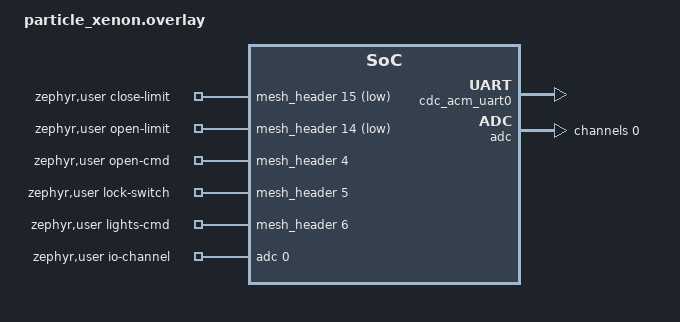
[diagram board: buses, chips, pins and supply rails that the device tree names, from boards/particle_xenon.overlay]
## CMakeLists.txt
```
cmake_minimum_required(VERSION 3.20.0)

set(BOARD particle_xenon)

list(APPEND OVERLAY_CONFIG "${CMAKE_CURRENT_LIST_DIR}/network.conf")
list(APPEND mcuboot_DTC_OVERLAY_FILE "${CMAKE_CURRENT_LIST_DIR}/boot.overlay")

find_package(Zephyr REQUIRED HINTS $ENV{ZEPHYR_BASE})

project(garage)

target_compile_options(app PRIVATE -Wall -Werror -Wextra -Wno-unused-parameter -Wno-unused-function -Wno-ignored-qualifiers -Wno-type-limits)

target_sources(app PRIVATE
	src/main.c

	src/button.c
	src/coap_server.c
	src/srp-init.c
	src/switch.c
)
```

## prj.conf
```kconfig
CONFIG_BOOTLOADER_MCUBOOT=y

CONFIG_GPIO=y
CONFIG_ADC=y

########################################
# USB Configuration                    #
########################################

CONFIG_USB_DEVICE_INITIALIZE_AT_BOOT=y

CONFIG_USB_CDC_ACM=y
CONFIG_USB_DEVICE_STACK=y
CONFIG_USB_DEVICE_MANUFACTURER="Kenny"
CONFIG_USB_DEVICE_PRODUCT="Garage"
CONFIG_USB_DEVICE_VID=0x05ed
CONFIG_USB_DEVICE_PID=0xb567

CONFIG_UART_CONSOLE=y
CONFIG_CONSOLE=y
CONFIG_UART_LINE_CTRL=y

########################################
# Shell Configuration                  #
########################################
# Console
CONFIG_SHELL=y
CONFIG_SHELL_BACKENDS=y

CONFIG_LOG=y
CONFIG_LOG_PRINTK=y
CONFIG_NET_SHELL=y
CONFIG_LOG_BACKEND_UART=y

CONFIG_GPIO_SHELL=y

########################################
# Thread Configuration                 #
########################################
#
# Follows: https://developer.nordicsemi.com/nRF_Connect_SDK/doc/latest/nrf/ug_thread_configuring.html

CONFIG_NETWORKING=y
CONFIG_NET_L2_OPENTHREAD=y
CONFIG_MPSL=y

CONFIG_OPENTHREAD=y

CONFIG_OPENTHREAD_THREAD_VERSION_1_3=y

# Hardfloat required to link with the Nordic library
CONFIG_FPU=y
CONFIG_FP_HARDABI=y
CONFIG_OPENTHREAD_BUILD_OUTPUT_STRIPPED=y
CONFIG_OPENTHREAD_LIBRARY=y

# Include default features from the #thread-ug-feature-sets section
CONFIG_OPENTHREAD_NORDIC_LIBRARY_FTD=y

# Make sure hardware crypto accl is used:
CONFIG_OPENTHREAD_NRF_SECURITY_CHOICE=y

# Required for ipv6 routing between networks
CONFIG_NET_IPV6_NBR_CACHE=n
CONFIG_NET_IPV6_MLD=n

########################################
# Network Events                       #
########################################
CONFIG_NET_CONNECTION_MANAGER=y

########################################
# COAP Config                          #
########################################
CONFIG_COAP=y
CONFIG_OPENTHREAD_COAP=y
CONFIG_COAP_UTILS=y
CONFIG_NET_SOCKETS=y
CONFIG_COAP_WELL_KNOWN_BLOCK_WISE=y
CONFIG_HEAP_MEM_POOL_SIZE=4096
```

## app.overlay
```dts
/ {
   chosen {
      zephyr,code-partition = &slot0_partition;
   };
};
```

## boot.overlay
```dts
#include <../boards/arm/particle_xenon/dts/mesh_feather.dtsi>

&zephyr_udc0 {
	cdc_acm_uart0 {
		compatible = "zephyr,cdc-acm-uart";
	};
};

/ {
	aliases {
		mcuboot-led0 = &status_red;
		mcuboot-button0 = &mode_button;
	};
};
```

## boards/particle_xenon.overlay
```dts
#include <../boards/arm/particle_xenon/dts/mesh_feather.dtsi>

/ {
        aliases {
                adcctl = &adc;
        };
        chosen {
                /*
                zephyr,console = &cdc_acm_uart0;
                 */
                zephyr,shell-uart = &cdc_acm_uart0;
                zephyr,entropy = &rng;
        };

        // https: //docs.particle.io/assets/images/xenon/xenon-pinout-v1.0.pdf
        zephyr,user {
                io-channels = <&adc 0>;

                //vibration-gpios = <&mesh_header 7 GPIO_ACTIVE_LOW>;
                //ctrl-signal-gpios = <&mesh_header 19 GPIO_ACTIVE_LOW>;

                close-limit-gpios = <&mesh_header 15 GPIO_ACTIVE_LOW>; // A4
                open-limit-gpios = <&mesh_header 14 GPIO_ACTIVE_LOW>; // A5

                open-cmd-gpios = <&mesh_header 4 GPIO_ACTIVE_HIGH>;
                lock-switch-gpios = <&mesh_header 5 GPIO_ACTIVE_HIGH>;
                lights-cmd-gpios = <&mesh_header 6 GPIO_ACTIVE_HIGH>;
        };
};

&zephyr_udc0 {
        cdc_acm_uart0: cdc_acm_uart0 {
                compatible = "zephyr,cdc-acm-uart";
                label = "CDC_ACM_0";
        };
};

&adc {
        #address-cells = <1>;
        #size-cells = <0>;

        status = "okay";

        channel@0 {
                reg = <0>;
                zephyr,gain = "ADC_GAIN_1_6";
                zephyr,reference = "ADC_REF_INTERNAL";
                zephyr,acquisition-time = <ADC_ACQ_TIME_DEFAULT>;
                /* NB: resolution *must* be set or the driver fails. 0 == error -22 */
                zephyr,resolution = <12>;
                zephyr,input-positive = <NRF_SAADC_AIN1>; /* A0 - 19 - P0.03 */
        };
};
```

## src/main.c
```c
#include <zephyr/kernel.h>
#include <zephyr/logging/log.h>

#include <zephyr/drivers/adc.h>
#include <zephyr/drivers/gpio.h>
#include <zephyr/usb/usb_device.h>

#include <hal/nrf_saadc.h>

#include "button.h"
#include "coap_server.h"
#include "switch.h"

LOG_MODULE_REGISTER(main, LOG_LEVEL_DBG);

bool open_pressed = false;
bool lock_pressed = false;
bool lights_pressed = false;

bool locked = false;

typedef enum { CLOSED = 0, UNKNOWN = 1, OPEN = 2 } state;

static K_SEM_DEFINE(connected, 0, 1);

#if !DT_NODE_EXISTS(DT_PATH(zephyr_user)) ||                                   \
    !DT_NODE_HAS_PROP(DT_PATH(zephyr_user), io_channels)
#error "No suitable devicetree overlay specified"
#endif

#define ZEPHYR_USER_NODE DT_PATH(zephyr_user)
#define ZEPHYR_GPIO(N)                                                         \
  const struct gpio_dt_spec N = GPIO_DT_SPEC_GET(ZEPHYR_USER_NODE, N##_gpios)

ZEPHYR_GPIO(lock_switch);
SWITCH(open_limit);
SWITCH(close_limit);

#if !DT_NODE_EXISTS(DT_PATH(zephyr_user)) ||                                   \
    !DT_NODE_HAS_PROP(DT_PATH(zephyr_user), io_channels)
#error "No suitable devicetree overlay specified"
#endif

static const struct adc_dt_spec ctrl_signal =
    ADC_DT_SPEC_GET_BY_IDX(DT_PATH(zephyr_user), 0);

struct button_work open_button = {
    .click_work = Z_WORK_INITIALIZER(press_button),
    .release_work = Z_WORK_DELAYABLE_INITIALIZER(release_button),
    .gpio = GPIO_DT_SPEC_GET(ZEPHYR_USER_NODE, open_cmd_gpios),
};

struct button_work lights_button = {
    .click_work = Z_WORK_INITIALIZER(press_button),
    .release_work = Z_WORK_DELAYABLE_INITIALIZER(release_button),
    .gpio = GPIO_DT_SPEC_GET(ZEPHYR_USER_NODE, lights_cmd_gpios),
};

#define SLEEP_TIME_MS 1000
#define LED0_NODE DT_ALIAS(led0)
static const struct gpio_dt_spec led = GPIO_DT_SPEC_GET(LED0_NODE, gpios);

static void switch_event_handler(enum switch_evt evt, char *name) {
  LOG_WRN("Switch event: %s => %d\n", name, evt);
}

void setup_pins() {
  gpio_pin_configure_dt(&open_button.gpio, GPIO_OUTPUT_INACTIVE);
  gpio_pin_configure_dt(&lock_switch, GPIO_OUTPUT_INACTIVE);
  gpio_pin_configure_dt(&lights_button.gpio, GPIO_OUTPUT_INACTIVE);

  gpio_pin_configure_dt(&led, GPIO_OUTPUT_ACTIVE);

  switch_init(&open_limit, switch_event_handler);
  switch_init(&close_limit, switch_event_handler);

  int err;
  err = adc_channel_setup_dt(&ctrl_signal);
  if (err < 0) {
    LOG_ERR("Could not setup adc channel (%d)\n", err);
  }
}

void main(void) {
  int ret;

  open_limit.name = "OPEN";
  close_limit.name = "CLOSE";

  if (!(device_is_ready(led.port) && device_is_ready(open_button.gpio.port) &&
        device_is_ready(lock_switch.port) &&
        device_is_ready(lights_button.gpio.port) &&
        device_is_ready(ctrl_signal.dev))) {
    LOG_ERR("%s", "GPIO not ready.\n");
    return;
  }

  setup_pins();

  coap_add_bool_resource("open", &open_limit.active);
  coap_add_bool_resource("close", &close_limit.active);

  coap_add_button("open", &open_button);
  coap_add_button("lights", &lights_button);

  coap_add_adc("control", &ctrl_signal);

  while (1) {
    ret = gpio_pin_toggle_dt(&led);
    if (ret < 0) {
      LOG_ERR("Unable to toggle LED");
      continue;
    }
    k_msleep(SLEEP_TIME_MS);
  }
}
```

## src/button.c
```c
#include <zephyr/drivers/gpio.h>
#include <zephyr/kernel.h>

#include "button.h"

void press_button(struct k_work *work) {
  struct button_work *button =
      CONTAINER_OF(work, struct button_work, click_work);
  gpio_pin_set_dt(&button->gpio, 1);
  k_work_reschedule(&button->release_work, K_SECONDS(1U));
}

void release_button(struct k_work *work) {
  struct button_work *button =
      CONTAINER_OF(work, struct button_work, release_work);
  gpio_pin_set_dt(&button->gpio, 0);
}
```

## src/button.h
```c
#ifndef _BUTTON_H_
#define _BUTTON_H_

#include <zephyr/drivers/gpio.h>
#include <zephyr/kernel.h>

struct button_work {
  struct k_work click_work;
  struct k_work_delayable release_work;
  const struct gpio_dt_spec gpio;
};

void press_button(struct k_work *work);
void release_button(struct k_work *work);

#endif /* _BUTTON_H_ */
```

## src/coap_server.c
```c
#include <zephyr/logging/log.h>
LOG_MODULE_REGISTER(net_coap_server, LOG_LEVEL_DBG);

#include <errno.h>
#include <zephyr/drivers/adc.h>
#include <zephyr/kernel.h>
#include <zephyr/sys/byteorder.h>
#include <zephyr/sys/printk.h>

#include <zephyr/net/coap.h>
#include <zephyr/net/coap_link_format.h>
#include <zephyr/net/net_conn_mgr.h>
#include <zephyr/net/net_ip.h>
#include <zephyr/net/net_mgmt.h>
#include <zephyr/net/openthread.h>
#include <zephyr/net/socket.h>
#include <zephyr/net/udp.h>

#include <openthread/thread.h>

#include "coap_server.h"

#define MAX_RETRANSMIT_COUNT 2

#define MAX_COAP_MSG_LEN 256

#define MY_COAP_PORT 5683

#define MAX_RESOURCES 10
static int num_resources = 1;
static int well_known_core_get(struct coap_resource *, struct coap_packet *,
                               struct sockaddr *, socklen_t);

static int bool_get(struct coap_resource *, struct coap_packet *,
                    struct sockaddr *, socklen_t);

// NB: resources is not currently threadsafe
static struct coap_resource resources[MAX_RESOURCES + 1] = {
    {
        .get = well_known_core_get,
        .path = COAP_WELL_KNOWN_CORE_PATH,
    },
    {0},
};

#define BLOCK_WISE_TRANSFER_SIZE_GET 2048

#define ADDRLEN(sock)                                                          \
  (((struct sockaddr *)sock)->sa_family == AF_INET                             \
       ? sizeof(struct sockaddr_in)                                            \
       : sizeof(struct sockaddr_in6))

#define NUM_PENDINGS 10

#define EVENT_MASK (NET_EVENT_L4_CONNECTED | NET_EVENT_L4_DISCONNECTED)
K_SEM_DEFINE(connected, 0, 1);
static struct net_mgmt_event_callback mgmt_cb;

static void coap_server_process(void *a1, void *a2, void *a3);
K_THREAD_DEFINE(coap_server_id, 4096, coap_server_process, NULL, NULL, NULL, 7,
                0, 0);

/* CoAP socket fd */
static int sock;

static struct coap_pending pendings[NUM_PENDINGS];

static int start_coap_server(void) {
  struct sockaddr_in6 addr6;
  int r;

  memset(&addr6, 0, sizeof(addr6));
  addr6.sin6_family = AF_INET6;
  addr6.sin6_port = htons(MY_COAP_PORT);

  sock = socket(addr6.sin6_family, SOCK_DGRAM, IPPROTO_UDP);
  if (sock < 0) {
    LOG_ERR("Failed to create UDP socket %d", errno);
    return -errno;
  }

  r = bind(sock, (struct sockaddr *)&addr6, sizeof(addr6));
  if (r < 0) {
    LOG_ERR("Failed to bind UDP socket %d", errno);
    return -errno;
  }

  return 0;
}

static int send_coap_reply(struct coap_packet *cpkt,
                           const struct sockaddr *addr, socklen_t addr_len) {
  int r;

  r = sendto(sock, cpkt->data, cpkt->offset, 0, addr, addr_len);
  if (r < 0) {
    LOG_ERR("Failed to send %d", errno);
    r = -errno;
  }

  return r;
}

static int well_known_core_get(struct coap_resource *resource,
                               struct coap_packet *request,
                               struct sockaddr *addr, socklen_t addr_len) {
  struct coap_packet response;
  uint8_t *data;
  int r;

  data = (uint8_t *)k_malloc(MAX_COAP_MSG_LEN);
  if (!data) {
    return -ENOMEM;
  }

  r = coap_well_known_core_get(resource, request, &response, data,
                               MAX_COAP_MSG_LEN);
  if (r < 0) {
    goto end;
  }

  r = send_coap_reply(&response, addr, addr_len);

end:
  k_free(data);

  return r;
}

static int send_reply(int value, struct coap_resource *resource,
                      struct coap_packet *request, struct sockaddr *addr,
                      socklen_t addr_len) {
  struct coap_packet response;
  uint8_t payload[40];
  uint8_t token[COAP_TOKEN_MAX_LEN];
  uint8_t *data;
  uint16_t id;
  uint8_t type;
  uint8_t tkl;
  int r;

  type = coap_header_get_type(request);
  id = coap_header_get_id(request);
  tkl = coap_header_get_token(request, token);

  if (type == COAP_TYPE_CON) {
    type = COAP_TYPE_ACK;
  } else {
    type = COAP_TYPE_NON_CON;
  }

  data = (uint8_t *)k_malloc(MAX_COAP_MSG_LEN);
  if (!data) {
    return -ENOMEM;
  }

  r = coap_packet_init(&response, data, MAX_COAP_MSG_LEN, COAP_VERSION_1, type,
                       tkl, token, COAP_RESPONSE_CODE_CONTENT, id);
  if (r < 0) {
    goto end;
  }

  r = coap_append_option_int(&response, COAP_OPTION_CONTENT_FORMAT,
                             COAP_CONTENT_FORMAT_TEXT_PLAIN);
  if (r < 0) {
    goto end;
  }

  r = coap_packet_append_payload_marker(&response);
  if (r < 0) {
    goto end;
  }

  r = snprintk((char *)payload, sizeof(payload), "%d", value);
  if (r < 0) {
    goto end;
  }

  r = coap_packet_append_payload(&response, (uint8_t *)payload,
                                 strlen(payload));
  if (r < 0) {
    goto end;
  }

  r = send_coap_reply(&response, addr, addr_len);

end:
  k_free(data);

  return r;
}

static int bool_get(struct coap_resource *resource, struct coap_packet *request,
                    struct sockaddr *addr, socklen_t addr_len) {
  int value =
      *(bool *)(((struct coap_core_metadata *)resource->user_data)->user_data)
          ? 1
          : 0;
  return send_reply(value, resource, request, addr, addr_len);
}

void coap_add_bool_resource(char *name, bool *value) {

  if (num_resources >= MAX_RESOURCES) {
    LOG_ERR("%s", "Resource limit hit, can not add another");
  }
  memset(&resources[num_resources], 0, sizeof(*resources));
  memset(&resources[num_resources + 1], 0, sizeof(*resources));

  struct coap_core_metadata *meta =
      calloc(1, sizeof(struct coap_core_metadata));
  meta->user_data = value;

  char **path = calloc(2, sizeof(char *));
  path[0] = name;

  struct coap_resource *resource = &resources[num_resources];
  resource->get = bool_get;
  resource->user_data = meta;
  // Set path last, as it's used to check if the entry exists
  resource->path = (const char *const *)path;
  num_resources += 1;
}

static int schedule_button(struct coap_resource *resource,
                           struct coap_packet *request, struct sockaddr *addr,
                           socklen_t addr_len) {

  struct button_work *button =
      ((struct coap_core_metadata *)resource->user_data)->user_data;
  k_work_submit(&button->click_work);

  return send_reply(1, resource, request, addr, addr_len);
}

void coap_add_button(char *name, struct button_work *button) {

  if (num_resources >= MAX_RESOURCES) {
    LOG_ERR("%s", "Resource limit hit, can not add another");
  }
  memset(&resources[num_resources], 0, sizeof(*resources));
  memset(&resources[num_resources + 1], 0, sizeof(*resources));

  struct coap_core_metadata *meta =
      calloc(1, sizeof(struct coap_core_metadata));
  meta->user_data = button;

  static const char *button_path = "button";
  char **path = calloc(3, sizeof(char *));
  path[0] = (char *)button_path;
  path[1] = name;

  struct coap_resource *resource = &resources[num_resources];
  resource->post = schedule_button;
  resource->user_data = meta;
  // Set path last, as it's used to check if the entry exists
  resource->path = (const char *const *)path;
  num_resources += 1;
}

static int read_adc(struct coap_resource *resource, struct coap_packet *request,
                    struct sockaddr *addr, socklen_t addr_len) {
  int ret;
  const struct adc_dt_spec *adc_chan =
      ((struct coap_core_metadata *)resource->user_data)->user_data;

  int16_t buf;
  struct adc_sequence sequence = {
      .buffer = &buf,
      /* buffer size in bytes, not number of samples */
      .buffer_size = sizeof(buf),
  };

  (void)adc_sequence_init_dt(adc_chan, &sequence);

  if (sequence.resolution == 0) {
    LOG_WRN("Adc requires a resolution to be set");
    return -1;
  }

  ret = adc_read(adc_chan->dev, &sequence);
  if (ret < 0) {
    LOG_ERR("error reading adc: %d\n", ret);
  }

  return send_reply(buf, resource, request, addr, addr_len);
}

void coap_add_adc(char *name, struct adc_dt_spec const *adc_chan) {

  if (num_resources >= MAX_RESOURCES) {
    LOG_ERR("%s", "Resource limit hit, can not add another");
  }
  memset(&resources[num_resources], 0, sizeof(*resources));
  memset(&resources[num_resources + 1], 0, sizeof(*resources));

  struct coap_core_metadata *meta =
      calloc(1, sizeof(struct coap_core_metadata));
  meta->user_data = (void *)adc_chan;

  static const char *button_path = "adc";
  char **path = calloc(3, sizeof(char *));
  path[0] = (char *)button_path;
  path[1] = name;

  struct coap_resource *resource = &resources[num_resources];
  resource->get = read_adc;
  resource->user_data = meta;
  // Set path last, as it's used to check if the entry exists
  resource->path = (const char *const *)path;
  num_resources += 1;
}

static void process_coap_request(uint8_t *data, uint16_t data_len,
                                 struct sockaddr *client_addr,
                                 socklen_t client_addr_len) {
  struct coap_packet request;
  struct coap_pending *pending;
  struct coap_option options[16] = {0};
  uint8_t opt_num = 16U;
  uint8_t type;
  int r;

  r = coap_packet_parse(&request, data, data_len, options, opt_num);
  if (r < 0) {
    LOG_ERR("Invalid data received (%d)\n", r);
    return;
  }

  type = coap_header_get_type(&request);

  pending = coap_pending_received(&request, pendings, NUM_PENDINGS);
  if (!pending) {
    goto not_found;
  }

  /* Clear CoAP pending request */
  if (type == COAP_TYPE_ACK || type == COAP_TYPE_RESET) {
    k_free(pending->data);
    coap_pending_clear(pending);
  }

  return;

not_found:
  r = coap_handle_request(&request, resources, options, opt_num, client_addr,
                          client_addr_len);
  if (r < 0) {
    LOG_WRN("No handler for such request (%d)\n", r);
  }
}

static int process_client_request(void) {
  int received;
  struct sockaddr client_addr;
  socklen_t client_addr_len;
  uint8_t request[MAX_COAP_MSG_LEN];

  do {
    client_addr_len = sizeof(client_addr);
    received = recvfrom(sock, request, sizeof(request), 0, &client_addr,
                        &client_addr_len);
    if (received < 0) {
      LOG_ERR("Connection error %d", errno);
      return -errno;
    }

    process_coap_request(request, received, &client_addr, client_addr_len);
  } while (true);

  return 0;
}

static void event_handler(struct net_mgmt_event_callback *cb,
                          uint32_t mgmt_event, struct net_if *iface) {
  if ((mgmt_event & EVENT_MASK) != mgmt_event) {
    return;
  }

  if (mgmt_event == NET_EVENT_L4_CONNECTED) {
    LOG_INF("Network connected");
    k_sem_give(&connected);

    return;
  }
}

void coap_server_process(void *a, void *b, void *c) {
  int r;

  if (IS_ENABLED(CONFIG_NET_CONNECTION_MANAGER)) {
    net_mgmt_init_event_callback(&mgmt_cb, event_handler, EVENT_MASK);
    net_mgmt_add_event_callback(&mgmt_cb);
    net_conn_mgr_resend_status();
    k_sem_take(&connected, K_SECONDS(10U));
  } else {
    k_sleep(K_SECONDS(10U));
  }

  LOG_DBG("Start CoAP-server");

  r = start_coap_server();
  if (r < 0) {
    goto quit;
  }

  while (1) {
    r = process_client_request();
    if (r < 0) {
      goto quit;
    }
  }

  LOG_DBG("Done");
  return;

quit:
  LOG_ERR("Quit");
}
```

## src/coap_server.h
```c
#ifndef _COAP_SERVER_H_
#define _COAP_SERVER_H_

#include <zephyr/drivers/adc.h>

#include <stdbool.h>

#include "button.h"

void coap_main(void);

void coap_add_bool_resource(char *name, bool *value);
void coap_add_button(char *name, struct button_work *cmd);
void coap_add_adc(char *name, struct adc_dt_spec const *adc_chan);

#endif /* _COAP_SERVER_H_ */
```

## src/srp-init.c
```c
#include <zephyr/logging/log.h>
#include <zephyr/net/openthread.h>

#include <openthread/srp_client.h>

LOG_MODULE_REGISTER(srp_init);

otSrpClientService threadNodeService = {
    .mName = "_threadnode._udp",
    .mPort = 1234,
    .mInstanceName = "Thread Node",
    .mSubTypeLabels = NULL,
    .mTxtEntries = NULL,
    .mNumTxtEntries = 0,
    .mPriority = 0,
    .mWeight = 0,
};

int srp_init() {
  otError error;

  otInstance *ot = openthread_get_default_instance();
  if (!ot) {
    LOG_ERR("%s", "Failed to get openthread default instance");
    return 1;
  }

  otSrpClientEnableAutoStartMode(ot, NULL, NULL);

  error = otSrpClientSetHostName(ot, "garage");
  if (error != OT_ERROR_NONE) {
    LOG_ERR("Failed to set SRP hostname. Error: %d", error);
    return 1;
  }

  error = otSrpClientEnableAutoHostAddress(ot);
  if (error != OT_ERROR_NONE) {
    LOG_ERR("Failed to set SRP addresses. Error: %d", error);
    return 1;
  }

  error = otSrpClientAddService(ot, &threadNodeService);
  if (error != OT_ERROR_NONE) {
    LOG_ERR("Failed to add Service. Error: %d", error);
    return 1;
  }

  LOG_INF("%s", "Started SRP");

  return 0;
}

SYS_INIT(srp_init, APPLICATION, CONFIG_APPLICATION_INIT_PRIORITY);
```

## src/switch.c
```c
#include <zephyr/drivers/gpio.h>
#include <zephyr/kernel.h>
#include <zephyr/logging/log.h>

#include "switch.h"

LOG_MODULE_REGISTER(sw, LOG_LEVEL_DBG);

void cooldown_expired(struct k_work *cooldown_work) {
  struct switch_ctx *s_ctx =
      CONTAINER_OF(cooldown_work, struct switch_ctx, cooldown_work);
  bool active = gpio_pin_get_dt(&s_ctx->spec);
  if (active == s_ctx->active) {
    return;
  } else {
    s_ctx->active = active;
  }

  enum switch_evt evt = active ? SWITCH_EVT_CLOSED : SWITCH_EVT_OPENED;
  if (s_ctx->handler) {
    s_ctx->handler(evt, s_ctx->name);
  }
}

void sw_pressed(const struct device *dev, struct gpio_callback *cb,
                uint32_t pins) {
  struct switch_ctx *s_ctx = CONTAINER_OF(cb, struct switch_ctx, cb);
  k_work_reschedule(&s_ctx->cooldown_work, K_MSEC(50));
}

int switch_init(struct switch_ctx *s_ctx, switch_event_handler_t handler) {
  int err = -1;

  if (!handler) {
    return -EINVAL;
  }

  s_ctx->handler = handler;

  if (!device_is_ready(s_ctx->spec.port)) {
    return -EIO;
  }

  err = gpio_pin_configure_dt(&s_ctx->spec, GPIO_INPUT);
  if (err) {
    LOG_WRN("%s", "pin config failed");
    return err;
  }

  err = gpio_pin_interrupt_configure_dt(&s_ctx->spec, GPIO_INT_EDGE_BOTH);
  if (err) {
    LOG_WRN("%s", "pin inter config failed");
    return err;
  }

  gpio_init_callback(&s_ctx->cb, sw_pressed, BIT(s_ctx->spec.pin));
  err = gpio_add_callback(s_ctx->spec.port, &s_ctx->cb);
  if (err) {
    LOG_WRN("%s", "pin add callback");
    return err;
  }

  return 0;
}
```

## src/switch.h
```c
#ifndef _SWITCH_H_
#define _SWITCH_H_

#include <zephyr/kernel.h>

void cooldown_expired(struct k_work *);

#define SWITCH(G)                                                              \
  static struct switch_ctx G = {                                               \
      .spec = GPIO_DT_SPEC_GET(ZEPHYR_USER_NODE, G##_gpios),                   \
      .cooldown_work = Z_WORK_DELAYABLE_INITIALIZER(cooldown_expired),         \
  }

enum switch_evt { SWITCH_EVT_CLOSED, SWITCH_EVT_OPENED };

typedef void (*switch_event_handler_t)(enum switch_evt evt, char *name);

struct switch_ctx {
  struct gpio_dt_spec spec;
  struct k_work_delayable cooldown_work;
  char *name;

  bool active;

  struct gpio_callback cb;

  switch_event_handler_t handler;
};

int switch_init(struct switch_ctx *s_ctx, switch_event_handler_t handler);

#endif /* _SWITCH_H_ */
```
